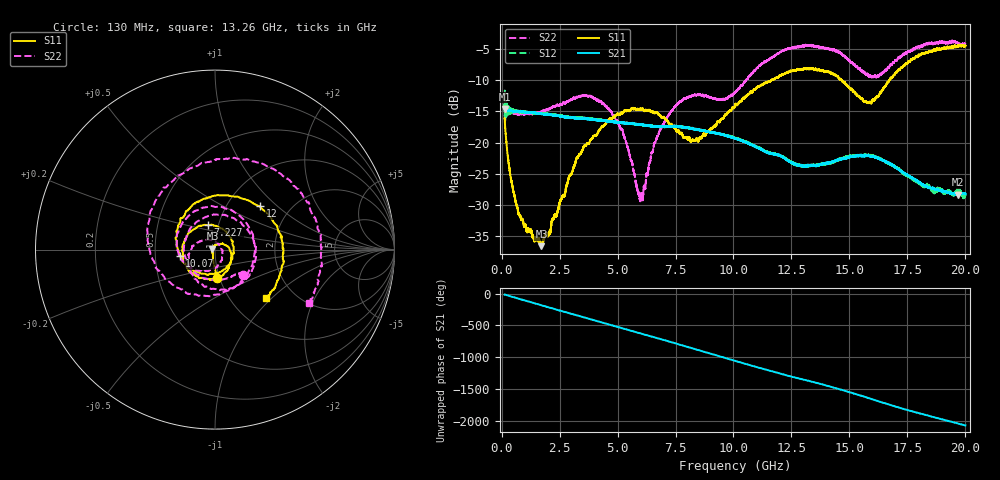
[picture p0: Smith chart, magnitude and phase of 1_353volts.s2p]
!Created with skrf (http://scikit-rf.org).
# GHz S RI R 50.0
!freq ReS11 ImS11 ReS21 ImS21 ReS12 ImS12 ReS22 ImS22
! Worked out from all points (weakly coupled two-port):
!   20013 points, 130 MHz to 20 GHz, reference 50 ohm
!   highest |S21| = -14.58 dB at 132 MHz (marker M1); lowest = -28.4 dB at 19.67 GHz (marker M2)
!   lowest |S11| = -36.7 dB at 1.717 GHz (marker M3), VSWR 1.03, Z = 48.6 + j0.43 ohm
!   |S11| at or under -10 dB: start of sweep to 11.62 GHz; 11.62544 GHz to 11.62736 GHz (1.922 MHz wide, 0.0165 % of centre); 14.68 GHz to 16.72 GHz (2.041 GHz wide, 13 % of centre) (the widest 3 of 8)
!   |S22| runs from -29.5 to -3.6 dB; largest |S21 - S12| = 0.09
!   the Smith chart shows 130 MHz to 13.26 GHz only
!   S11 on the Smith chart (normalised r, x): 130 MHz: 0.98, -0.31; 7.227 GHz: 0.89, +0.25; 10.07 GHz: 0.67, -0.05; 12 GHz: 1.42, +0.78; 13.26 GHz: 1.43, -0.92
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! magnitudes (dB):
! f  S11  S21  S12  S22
! 130 MHz  -16.1  -14.7  -14.4  -13.5
! 132 MHz  -16.3  -14.6  -14.7  -13.7
! 380 MHz  -25.3  -14.9  -15.0  -15.0
! 704 MHz  -30.9  -15.0  -15.0  -15.5
! 1.717 GHz  -36.7  -15.4  -15.4  -15.1
! 3.442 GHz  -21.6  -16.2  -16.1  -12.6
! 4.932 GHz  -15.6  -16.7  -16.7  -16.4
! 5.294 GHz  -14.9  -16.9  -16.9  -19.1
! 5.999 GHz  -14.5  -17.1  -17.1  -29.0
! 6.754 GHz  -15.4  -17.4  -17.4  -18.7
! 7.227 GHz  -16.9  -17.4  -17.3  -15.5
! 8.418 GHz  -19.4  -17.9  -17.9  -12.4
! 10.06 GHz  -14.0  -19.3  -19.2  -12.0
! 10.07 GHz  -13.9  -19.3  -19.3  -12.0
! 12 GHz  -9.1  -22.1  -22.1  -5.5
! 13.26 GHz  -8.1  -23.7  -23.7  -4.4
! 13.38 GHz  -8.1  -23.8  -23.7  -4.4
! 15.84 GHz  -13.6  -22.1  -22.1  -9.3
! 16.69 GHz  -10.1  -23.2  -23.2  -8.0
! 18.05 GHz  -5.9  -26.5  -26.8  -4.6
! 19.67 GHz  -4.5  -28.4  -27.6  -4.0
! 20 GHz  -4.4  -28.2  -28.4  -4.0
